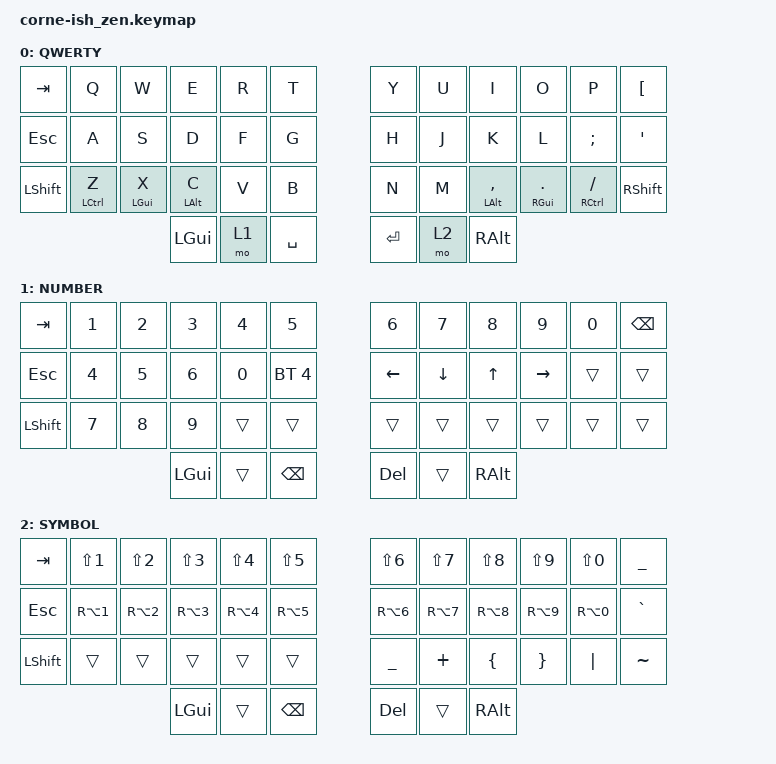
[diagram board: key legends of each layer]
/*
*
* Copyright (c) 2021 Darryl deHaan
* SPDX-License-Identifier: MIT
*
*/

#include <behaviors.dtsi>
#include <dt-bindings/zmk/keys.h>
#include <dt-bindings/zmk/bt.h>

/ {
        keymap {
                compatible = "zmk,keymap";

                default_layer {
                        label = "QWERTY";
// -----------------------------------------------------------------------------------------
// |  TAB |  Q  |  W  |  E  |  R  |  T  |   |  Y  |  U   |  I  |  O  |  P  |  Å   |
// |  ESC |  A  |  S  |  D  |  F  |  G  |   |  H  |  J   |  K  |  L  |  Æ  |  Ø   |
// | SHFT |  Z  |  X  |  C  |  V  |  B  |   |  N  |  M   |  ,  |  .  |  /  | SHFT |
//                    | GUI | LWR | SPC |   | ENT | RSE  | ALT |
                        bindings = <
   &kp TAB   &kp Q       &kp W      &kp E      &kp R &kp T       &kp Y   &kp U  &kp I          &kp O        &kp P          &kp LBKT
   &kp ESC   &kp A       &kp S      &kp D      &kp F &kp G       &kp H   &kp J  &kp K          &kp L        &kp SEMI       &kp SQT
   &kp LSHFT &mt LCTRL Z &mt LGUI X &mt LALT C &kp V &kp B       &kp N   &kp M  &mt LALT COMMA &mt RGUI DOT &mt RCTRL FSLH &kp RSHFT
                                    &kp LGUI   &mo 1 &kp SPACE   &kp RET &mo 2  &kp RALT
                        >;
                };
                lower_layer {
                        label = "NUMBER";
// -----------------------------------------------------------------------------------------
// |  TAB |  1  |  2  |  3  |  4  |  5  |   |  6  |  7  |  8  |  9  |  0  | BKSP |
// | BTCLR| BT1 | BT2 | BT3 | BT4 | BT5 |   | LFT | DWN |  UP | RGT |     |      |
// | SHFT |     |     |     |     |     |   |     |     |     |     |     |      |
//                    | GUI |     | SPC |   | ENT |     | ALT |
                        bindings = <
   &kp TAB    &kp N1       &kp N2       &kp N3       &kp N4       &kp N5         &kp N6   &kp N7   &kp N8 &kp N9    &kp N0 &kp BSPC
   &kp ESC    &kp N4       &kp N5       &kp N6       &kp N0       &bt BT_SEL 4   &kp LEFT &kp DOWN &kp UP &kp RIGHT &trans &trans
   &kp LSHFT  &kp N7       &kp N8       &kp N9       &trans       &trans         &trans   &trans   &trans &trans    &trans &trans
                          	            &kp LGUI     &trans       &kp BSPC       &kp DEL  &trans   &kp RALT
                        >;
                };

                raise_layer {
                        label = "SYMBOL";
// -----------------------------------------------------------------------------------------
// |  TAB |  !  |  @  |  #  |  $  |  %  |   |  ^  |  &  |  *  |  (  |  )  | BKSP |
// | CTRL |     |     |     |     |     |   |  -  |  =  |  [  |  ]  |  \  |  `   |
// | SHFT |     |     |     |     |     |   |  _  |  +  |  {  |  }  | "|" |  ~   |
//                    | SPC |   | ENT |     | ALT |
                        bindings = <
   &kp  TAB  &kp LS(1) &kp LS(2) &kp LS(3) &kp LS(4) &kp LS(5) &kp LS(6) &kp LS(7) &kp LS(8) &kp LS(9) &kp LS(0) &kp UNDER
   &kp ESC   &kp RA(1) &kp RA(2) &kp RA(3) &kp RA(4) &kp RA(5) &kp RA(6) &kp RA(7) &kp RA(8) &kp RA(9) &kp RA(0) &kp GRAVE
   &kp LSHFT &trans    &trans    &trans    &trans    &trans    &kp UNDER &kp PLUS  &kp LBRC  &kp RBRC  &kp PIPE  &kp TILDE
                    	         &kp LGUI  &trans    &kp BSPC  &kp DEL   &trans    &kp RALT
                        >;
                };
        };
};
